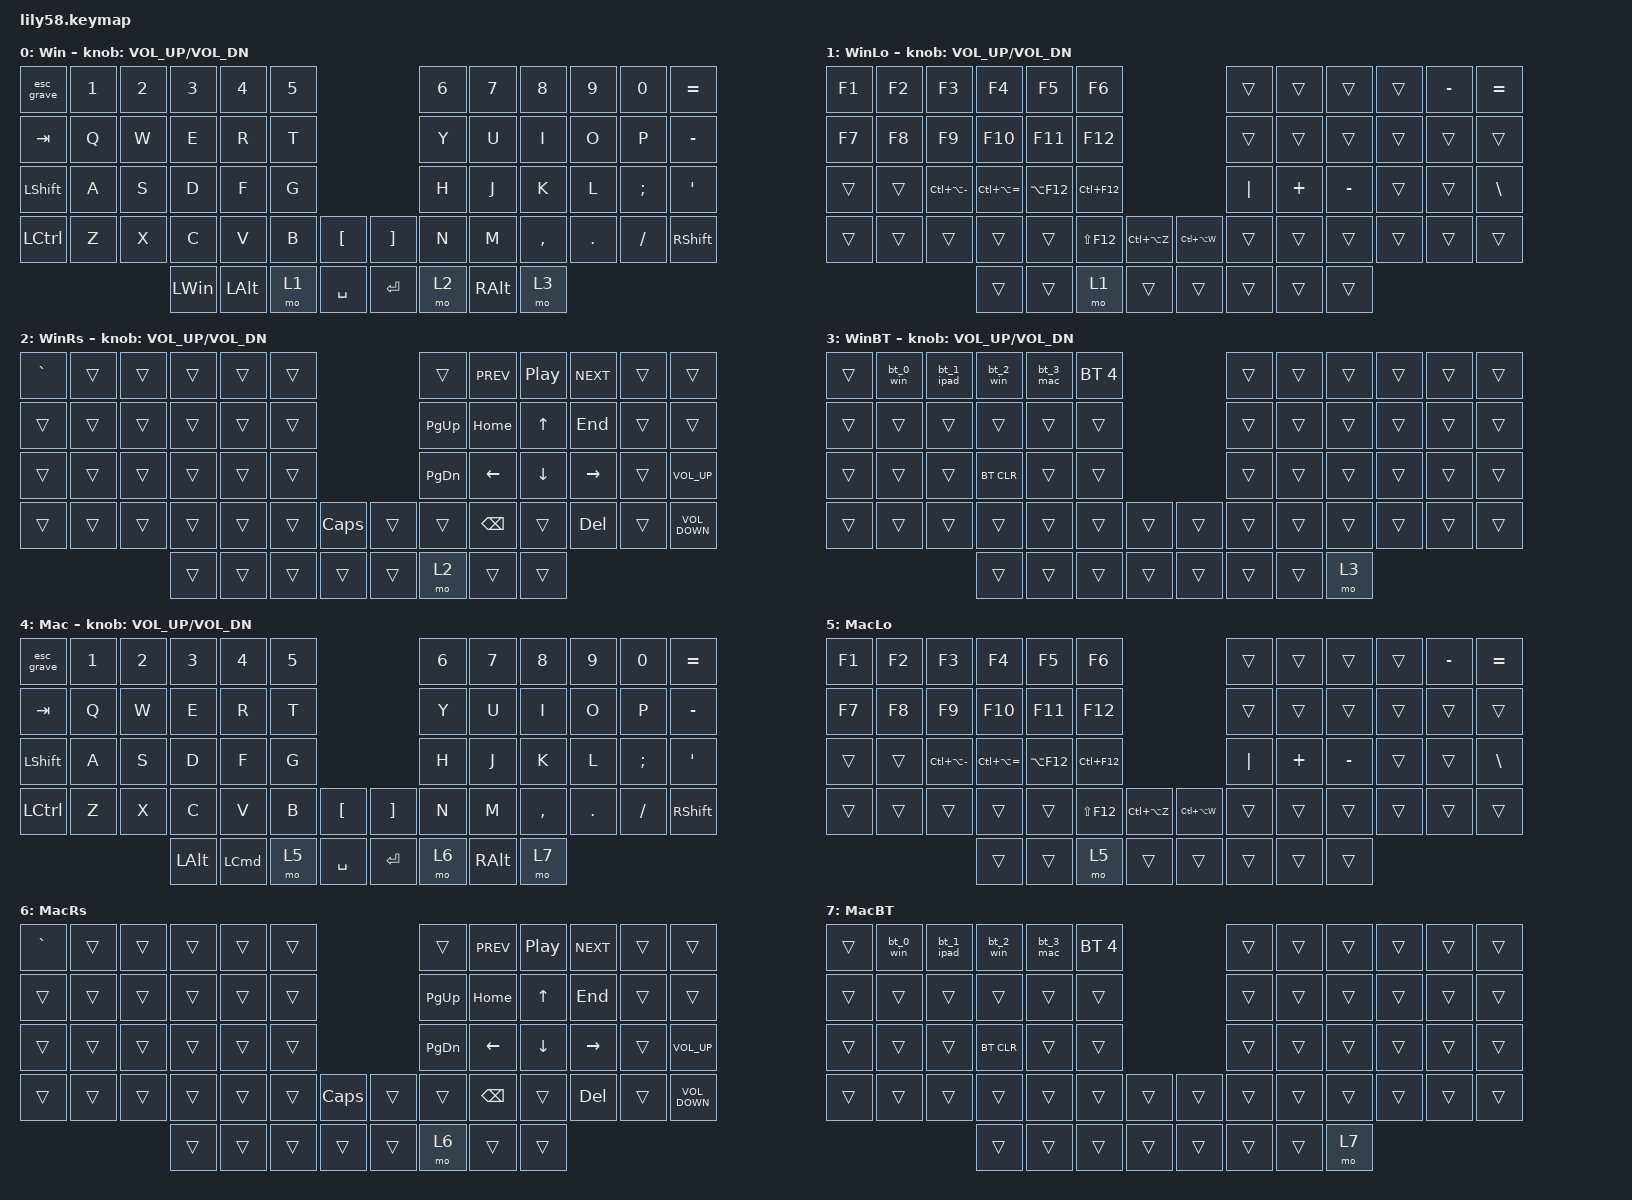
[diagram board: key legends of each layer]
/*
 * Copyright (c) 2020 The ZMK Contributors
 *
 * SPDX-License-Identifier: MIT
 */

#include <behaviors.dtsi>
#include <dt-bindings/zmk/bt.h>
#include <dt-bindings/zmk/keys.h>

/ {
    behaviors {
        toggle_os_mode: toggle_os_mode {
            compatible = "zmk,behavior-toggle-layer";
            label = "TOGGLE_OS_MODE";
            #binding-cells = <1>;
            toggle-mode = "flip";
        };
        
        esc_grave: esc_grave {
            compatible = "zmk,behavior-mod-morph";
            label = "ESC_GRAVE";
            #binding-cells = <0>;
            bindings = <&kp ESC>, <&kp GRAVE>;
            mods = <(MOD_LALT)>;
        };
    };

    macros {
        // BT profile 0: Windows desktop -> Windows base layer (0)
        bt_0_win: bt_0_win {
            compatible = "zmk,behavior-macro";
            #binding-cells = <0>;
            bindings = <&bt BT_SEL 0>, <&to 0>;
        };

        // BT profile 1: iPad -> Mac base layer (4), iPadOS uses Cmd-based shortcuts
        bt_1_ipad: bt_1_ipad {
            compatible = "zmk,behavior-macro";
            #binding-cells = <0>;
            bindings = <&bt BT_SEL 1>, <&to 4>;
        };

        // BT profile 2: work Windows PC -> Windows base layer (0)
        bt_2_win: bt_2_win {
            compatible = "zmk,behavior-macro";
            #binding-cells = <0>;
            bindings = <&bt BT_SEL 2>, <&to 0>;
        };

        // BT profile 3: MacBook -> Mac base layer (4)
        bt_3_mac: bt_3_mac {
            compatible = "zmk,behavior-macro";
            #binding-cells = <0>;
            bindings = <&bt BT_SEL 3>, <&to 4>;
        };
    };

    keymap {
        compatible = "zmk,keymap";

        windows_default {
            display-name = "Win";
            // ------------------------------------------------------------------------------------------------------------
            // | ESC/` |  1  |  2  |  3   |  4   |  5   |                   |  6   |  7    |  8    |  9   |   0   |   =   |
            // |  TAB  |  Q  |  W  |  E   |  R   |  T   |                   |  Y   |  U    |  I    |  O   |   P   |   -   |
            // | SHIFT |  A  |  S  |  D   |  F   |  G   |                   |  H   |  J    |  K    |  L   |   ;   |   '   |
            // |  CTRL |  Z  |  X  |  C   |  V   |  B   |   "["  |  |  "]"  |  N   |  M    |  ,    |  .   |   /   | SHIFT |
            //                     | GUI  | ALT  | LOWER|  SPACE |  | ENTER | RAISE|  ALT  |  BT   |
            // ESC/` = tap for Esc, hold Alt for `                                                     BT = hold for Bluetooth layer

            bindings = <
&esc_grave        &kp N1  &kp N2  &kp N3        &kp N4        &kp N5                         &kp N6  &kp N7         &kp N8     &kp N9   &kp N0    &kp EQUAL
&kp TAB           &kp Q   &kp W   &kp E         &kp R         &kp T                          &kp Y   &kp U          &kp I      &kp O    &kp P     &kp MINUS
&kp LEFT_SHIFT    &kp A   &kp S   &kp D         &kp F         &kp G                          &kp H   &kp J          &kp K      &kp L    &kp SEMI  &kp SQT
&kp LEFT_CONTROL  &kp Z   &kp X   &kp C         &kp V         &kp B   &kp LBKT     &kp RBKT  &kp N   &kp M          &kp COMMA  &kp DOT  &kp FSLH  &kp RIGHT_SHIFT
                                  &kp LEFT_WIN  &kp LEFT_ALT  &mo 1   &kp SPACE    &kp RET   &mo 2   &kp RIGHT_ALT  &mo 3
            >;

            sensor-bindings = <&inc_dec_kp C_VOL_UP C_VOL_DN>;
        };

        windows_lower {
            display-name = "WinLo";
            // ------------------------------------------------------------------------------------------------------------
            // |  F1   |  F2 |  F3   |  F4    |  F5   |  F6    |             |      |       |       |      |   -   |   =   |
            // |  F7   |  F8 |  F9   |  F10   |  F11  |  F12   |             |      |       |       |      |       |       |
            // |       |     |C+A+ - |C+A+ =  | A+F12 | C+F12  |             |  |   |   +   |   -   |      |       |   \   |
            // |       |     |       |        |       | S+F12  | C+A+Z|C+A+W|      |       |       |      |       |       |
            //                       |        |       | LOWER  |      |     |      |       |       |

            bindings = <
&kp F1  &kp F2  &kp F3             &kp F4             &kp F5       &kp F6                                       &trans    &trans    &trans     &trans  &kp MINUS  &kp EQUAL
&kp F7  &kp F8  &kp F9             &kp F10            &kp F11      &kp F12                                      &trans    &trans    &trans     &trans  &trans     &trans
&trans  &trans  &kp LC(LA(MINUS))  &kp LC(LA(EQUAL))  &kp LA(F12)  &kp LC(F12)                                  &kp PIPE  &kp PLUS  &kp MINUS  &trans  &trans     &kp BACKSLASH
&trans  &trans  &trans             &trans             &trans       &kp LS(F12)  &kp LC(LA(Z))    &kp LC(LA(W))  &trans    &trans    &trans     &trans  &trans     &trans
                                   &trans             &trans       &mo 1        &trans           &trans         &trans    &trans    &trans
            >;

            /*  */

            sensor-bindings = <&inc_dec_kp C_VOL_UP C_VOL_DN>;
        };

        windows_raise {
            display-name = "WinRs";
            // ------------------------------------------------------------------------------------------------------------
            // |   `   |     |     |      |      |      |                   |      | PREV  | PLAY  | NEXT |       |       |
            // |       |     |     |      |      |      |                   | PG_UP| HOME  |  UP   | END  |       |       |
            // |       |     |     |      |      |      |                   | PG_DN| LEFT  | DOWN  |RIGHT |       | VOL+  |
            // |       |     |     |      |      |      |  CAPS  |          |      | BSPC  |       | DEL  |       | VOL-  |
            //                     |      |      |      |        |      | RAISE |      |       |

            bindings = <
&kp GRAVE  &trans  &trans  &trans  &trans  &trans                          &trans         &kp C_PREV     &kp C_PLAY_PAUSE  &kp C_NEXT  &trans  &trans
&trans     &trans  &trans  &trans  &trans  &trans                          &kp PAGE_UP    &kp HOME       &kp UP_ARROW      &kp END     &trans  &trans
&trans     &trans  &trans  &trans  &trans  &trans                          &kp PAGE_DOWN  &kp LEFT       &kp DOWN          &kp RIGHT   &trans  &kp C_VOLUME_UP
&trans     &trans  &trans  &trans  &trans  &trans  &kp CAPSLOCK    &trans  &trans         &kp BACKSPACE  &trans            &kp DELETE  &trans  &kp C_VOLUME_DOWN
                           &trans  &trans  &trans  &trans          &trans  &mo 2          &trans         &trans
            >;

            sensor-bindings = <&inc_dec_kp C_VOL_UP C_VOL_DN>;
        };

        windows_bt {
            display-name = "WinBT";
            // ------------------------------------------------------------------------------------------------------------
            // |       | BT0  | BT1  | BT2  | BT3  | BT4  |                   |      |       |       |      |       |       |
            // |       |      |      |      |      |      |                   |      |       |       |      |       |       |
            // |       |      |      |CLEAR |      |      |                   |      |       |       |      |       |       |
            // |       |      |      |      |      |      |                   |      |       |       |      |       |       |
            //                     |      |      |      |        |      |      |      |   BT  |
            bindings = <
&trans  &bt_0_win     &bt_1_ipad    &bt_2_win     &bt_3_mac     &bt BT_SEL 4                    &trans  &trans  &trans  &trans  &trans  &trans
&trans  &trans        &trans        &trans        &trans        &trans                          &trans  &trans  &trans  &trans  &trans  &trans
&trans  &trans        &trans        &bt BT_CLR    &trans        &trans                          &trans  &trans  &trans  &trans  &trans  &trans
&trans  &trans        &trans        &trans        &trans        &trans        &trans    &trans  &trans  &trans  &trans  &trans  &trans  &trans
                                    &trans        &trans        &trans        &trans    &trans  &trans  &trans  &mo 3
            >;

            sensor-bindings = <&inc_dec_kp C_VOL_UP C_VOL_DN>;
        };

        mac_default {
            display-name = "Mac";
            // ------------------------------------------------------------------------------------------------------------
            // | ESC/` |  1  |  2  |  3   |  4   |  5   |                   |  6   |  7    |  8    |  9   |   0   |   =   |
            // |  TAB  |  Q  |  W  |  E   |  R   |  T   |                   |  Y   |  U    |  I    |  O   |   P   |   -   |
            // | SHIFT |  A  |  S  |  D   |  F   |  G   |                   |  H   |  J    |  K    |  L   |   ;   |   '   |
            // |  CTRL |  Z  |  X  |  C   |  V   |  B   |   "["  |  |  "]"  |  N   |  M    |  ,    |  .   |   /   | SHIFT |
            //                     | ALT  | CMD  | LOWER|  SPACE |  | ENTER | RAISE|  ALT  |  BT   |
            // ESC/` = tap for Esc, hold Alt for `. Backslash is on the lower layer, ` also on the raise layer.
            bindings = <
&esc_grave        &kp N1  &kp N2  &kp N3        &kp N4    &kp N5                         &kp N6  &kp N7         &kp N8     &kp N9   &kp N0    &kp EQUAL
&kp TAB           &kp Q   &kp W   &kp E         &kp R     &kp T                          &kp Y   &kp U          &kp I      &kp O    &kp P     &kp MINUS
&kp LEFT_SHIFT    &kp A   &kp S   &kp D         &kp F     &kp G                          &kp H   &kp J          &kp K      &kp L    &kp SEMI  &kp SQT
&kp LEFT_CONTROL  &kp Z   &kp X   &kp C         &kp V     &kp B   &kp LBKT     &kp RBKT  &kp N   &kp M          &kp COMMA  &kp DOT  &kp FSLH  &kp RSHFT
                                  &kp LEFT_ALT  &kp LCMD  &mo 5   &kp SPACE    &kp RET   &mo 6   &kp RIGHT_ALT  &mo 7
            >;

            sensor-bindings = <&inc_dec_kp C_VOL_UP C_VOL_DN>;
        };

        mac_lower {
            display-name = "MacLo";
            bindings = <
&kp F1  &kp F2  &kp F3             &kp F4             &kp F5       &kp F6                                       &trans    &trans    &trans     &trans  &kp MINUS  &kp EQUAL
&kp F7  &kp F8  &kp F9             &kp F10            &kp F11      &kp F12                                      &trans    &trans    &trans     &trans  &trans     &trans
&trans  &trans  &kp LC(LA(MINUS))  &kp LC(LA(EQUAL))  &kp LA(F12)  &kp LC(F12)                                  &kp PIPE  &kp PLUS  &kp MINUS  &trans  &trans     &kp BACKSLASH
&trans  &trans  &trans             &trans             &trans       &kp LS(F12)  &kp LC(LA(Z))    &kp LC(LA(W))  &trans    &trans    &trans     &trans  &trans     &trans
                                   &trans             &trans       &mo 5        &trans           &trans         &trans    &trans    &trans
            >;
        };

        mac_raise {
            display-name = "MacRs";
            bindings = <
&kp GRAVE  &trans  &trans  &trans  &trans  &trans                          &trans         &kp C_PREV     &kp C_PLAY_PAUSE  &kp C_NEXT  &trans  &trans
&trans     &trans  &trans  &trans  &trans  &trans                          &kp PAGE_UP    &kp HOME       &kp UP_ARROW      &kp END        &trans  &trans
&trans     &trans  &trans  &trans  &trans  &trans                          &kp PAGE_DOWN  &kp LEFT       &kp DOWN          &kp RIGHT   &trans  &kp C_VOLUME_UP
&trans     &trans  &trans  &trans  &trans  &trans  &kp CAPSLOCK    &trans  &trans         &kp BACKSPACE  &trans            &kp DELETE  &trans  &kp C_VOLUME_DOWN
                           &trans  &trans  &trans  &trans          &trans  &mo 6          &trans         &trans
            >;
        };

        mac_bt {
            display-name = "MacBT";
            bindings = <
&trans  &bt_0_win     &bt_1_ipad    &bt_2_win     &bt_3_mac     &bt BT_SEL 4                    &trans  &trans  &trans  &trans  &trans  &trans
&trans  &trans        &trans        &trans        &trans        &trans                          &trans  &trans  &trans  &trans  &trans  &trans
&trans  &trans        &trans        &bt BT_CLR    &trans        &trans                          &trans  &trans  &trans  &trans  &trans  &trans
&trans  &trans        &trans        &trans        &trans        &trans        &trans    &trans  &trans  &trans  &trans  &trans  &trans  &trans
                                    &trans        &trans        &trans        &trans    &trans  &trans  &trans  &mo 7
            >;
        };

        extra_1 {
            status = "reserved";
        };

        extra_2 {
            status = "reserved";
        };

        extra_3 {
            status = "reserved";
        };
    };
};
